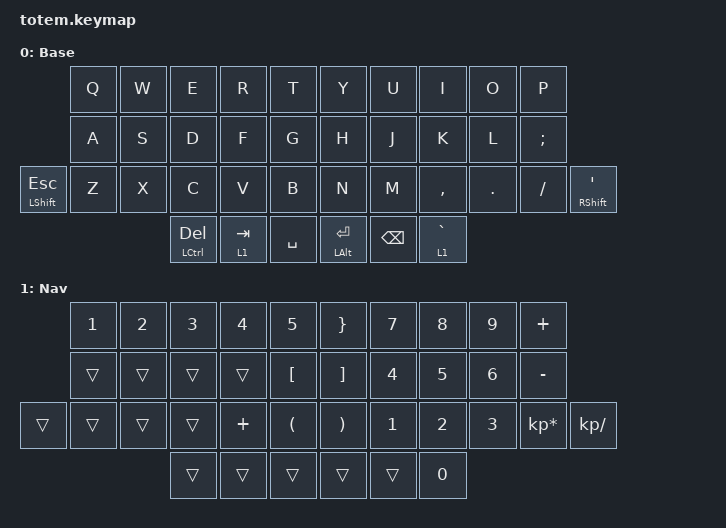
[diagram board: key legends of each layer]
//
//                                                        ▀▀▀▀▀     ▀▀▀▀▀          ▀▀█▀▀
//                                                        ▄▀▀▀▄  ▄  ▄▀▀▀▄  ▄  ▄▀▀▀▄  █  ▄▀▀▀▄
//                                                        █   █  █  █   █  █  █   █  █  █   █
//                                                         ▀▀▀   █   ▀▀▀   █   ▀▀▀   ▀   ▀▀▀
//                                                               █      ▄▄▄█▄▄▄    █   █  
//                                                               ▀      █  █  █     █▄█
//                                                             ▀▀▀▀▀    █  █  █      ▀
//                                                                      ▀  ▀  ▀
//
// ▄▄▄▄▄▄▄▄▄▄▄▄▄▄▄▄▄▄▄▄▄▄▄▄▄▄▄▄▄▄▄▄▄▄▄▄▄▄▄▄▄▄▄▄▄▄▄▄▄▄▄▄▄▄▄▄▄▄▄▄▄▄▄▄▄▄▄▄▄▄▄▄▄▄▄▄▄▄▄▄▄▄▄▄▄▄▄▄▄▄▄▄▄▄▄▄▄▄▄▄▄▄▄▄▄▄▄▄▄▄▄▄▄▄▄▄▄▄▄▄▄▄▄▄▄▄▄▄▄▄▄▄▄▄▄▄▄▄▄▄▄▄▄▄▄▄▄▄▄

#include <behaviors.dtsi>
#include <dt-bindings/zmk/keys.h>

#define Base        0
#define Nav         1
#define Sym         2
#define Fun         3
#define Game        4
#define Gameplus    5

&mt {
    quick-tap-ms = <100>;
    global-quick-tap;
    flavor = "tap-preferred";
    tapping-term-ms = <170>;
};

&lt {
    tapping-term-ms = <240>;
    flavor = "balanced";
    quick-tap-ms = <150>;
};

/ {
    behaviors {
        hm: homerow_mods {
            compatible = "zmk,behavior-hold-tap";
            label = "HOMEROW_MODS";
            #binding-cells = <2>;
            flavor = "tap-preferred";
            tapping-term-ms = <200>;
            quick-tap-ms = <125>;
            global-quick-tap;
            bindings = <&kp>, <&kp>;
        };
    };

    combos { compatible = "zmk,combos"; };

    keymap {
        compatible = "zmk,keymap";

        Base {
            display-name = "Base";
            bindings = <
                   &kp Q  &kp W  &kp E          &kp R      &kp T        &kp Y         &kp U          &kp I        &kp O    &kp P
                   &kp A  &kp S  &kp D          &kp F      &kp G        &kp H         &kp J          &kp K        &kp L    &kp SEMI
&mt LSHIFT ESCAPE  &kp Z  &kp X  &kp C          &kp V      &kp B        &kp N         &kp M          &kp COMMA    &kp DOT  &kp SLASH  &mt RSHFT APOSTROPHE
                                 &mt LCTRL DEL  &lt 1 TAB  &kp SPACE    &mt LALT RET  &kp BACKSPACE  &lt 1 GRAVE
            >;
        };

        Nav {
            display-name = "Nav";
            bindings = <
        &kp N1  &kp N2  &kp NUMBER_3  &kp N4    &kp N5      &kp RBRC  &kp NUMBER_7  &kp NUMBER_8  &kp NUMBER_9  &kp PLUS
        &trans  &trans  &trans        &trans    &kp LBKT    &kp RBKT  &kp NUMBER_4  &kp NUMBER_5  &kp NUMBER_6  &kp MINUS
&trans  &trans  &trans  &trans        &kp PLUS  &kp LPAR    &kp RPAR  &kp NUMBER_1  &kp NUMBER_2  &kp NUMBER_3  &kp KP_MULTIPLY  &kp KP_DIVIDE
                        &trans        &trans    &trans      &trans    &trans        &kp NUMBER_0
            >;
        };
    };
};
